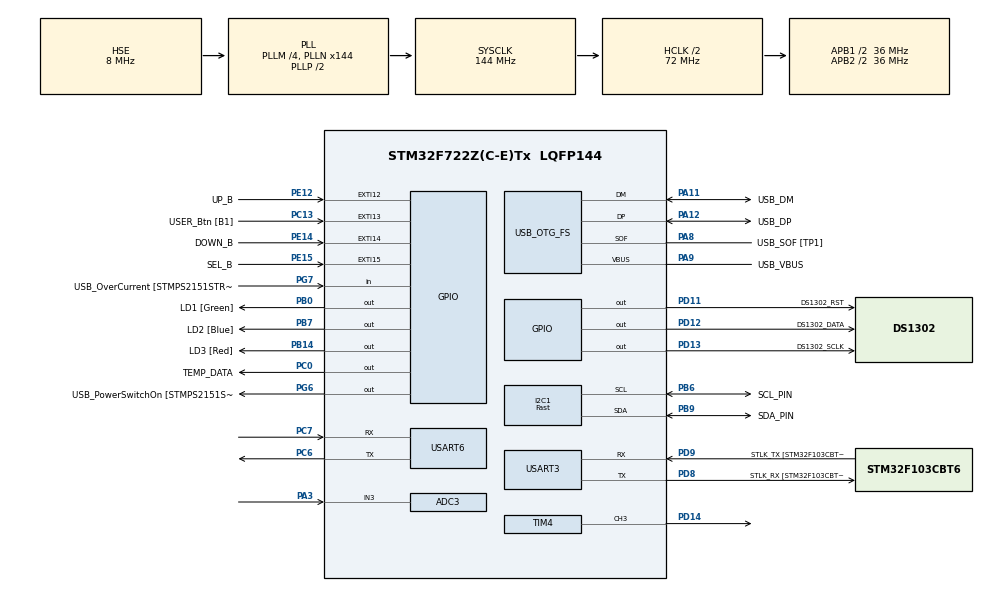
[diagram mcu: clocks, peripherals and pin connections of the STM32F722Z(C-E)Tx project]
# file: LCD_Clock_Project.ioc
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ADC3.Channel-2\#ChannelRegularConversion=ADC_CHANNEL_3
ADC3.ContinuousConvMode=ENABLE
ADC3.NbrOfConversionFlag=1
ADC3.Rank-2\#ChannelRegularConversion=1
ADC3.SamplingTime-2\#ChannelRegularConversion=ADC_SAMPLETIME_28CYCLES
I2C1.I2C_Speed_Mode=I2C_Fast
I2C1.Timing=0x00301739
Mcu.Family=STM32F7
Mcu.Name=STM32F722Z(C-E)Tx
Mcu.Package=LQFP144
NVIC.EXTI15_10_IRQn=true\:0\:0\:false\:false\:true\:true\:true\:true
NVIC.PriorityGroup=NVIC_PRIORITYGROUP_4
NVIC.TIM3_IRQn=true\:0\:0\:false\:false\:true\:true\:true\:true
PA10.GPIO_Label=USB_ID
PA10.Signal=USB_OTG_FS_ID
PA11.GPIO_Label=USB_DM
PA11.Mode=Device_Only
PA11.Signal=USB_OTG_FS_DM
PA12.GPIO_Label=USB_DP
PA12.Mode=Device_Only
PA12.Signal=USB_OTG_FS_DP
PA13.GPIO_Label=TMS
PA13.Mode=Serial_Wire
PA13.Signal=SYS_JTMS-SWDIO
PA14.GPIO_Label=TCK
PA14.Mode=Serial_Wire
PA14.Signal=SYS_JTCK-SWCLK
PA3.Signal=ADCx_IN3
PA8.GPIO_Label=USB_SOF [TP1]
PA8.Mode=Activate_SOF_FS
PA8.Signal=USB_OTG_FS_SOF
PA9.GPIO_Label=USB_VBUS
PA9.Mode=Activate_VBUS
PA9.Signal=USB_OTG_FS_VBUS
PB0.GPIO_Label=LD1 [Green]
PB0.Signal=GPIO_Output
PB14.GPIO_Label=LD3 [Red]
PB14.Signal=GPIO_Output
PB3.GPIO_Label=SWO
PB3.Signal=SYS_JTDO-SWO
PB6.GPIO_Label=SCL_PIN
PB6.Mode=I2C
PB6.Signal=I2C1_SCL
PB7.GPIO_Label=LD2 [Blue]
PB7.Signal=GPIO_Output
PB9.GPIO_Label=SDA_PIN
PB9.Mode=I2C
PB9.Signal=I2C1_SDA
PC0.GPIO_Label=TEMP_DATA
PC0.GPIO_PuPd=GPIO_PULLUP
PC0.GPIO_Speed=GPIO_SPEED_FREQ_HIGH
PC0.PinState=GPIO_PIN_SET
PC0.Signal=GPIO_Output
PC13.GPIO_Label=USER_Btn [B1]
PC13.Signal=GPXTI13
PC14-OSC32_IN.Mode=LSE-External-Oscillator
PC14-OSC32_IN.Signal=RCC_OSC32_IN
PC15-OSC32_OUT.Mode=LSE-External-Oscillator
PC15-OSC32_OUT.Signal=RCC_OSC32_OUT
PC6.Mode=Asynchronous
PC6.Signal=USART6_TX
PC7.Mode=Asynchronous
PC7.Signal=USART6_RX
PD11.GPIO_Label=DS1302_RST
PD11.Signal=GPIO_Output
PD12.GPIO_Label=DS1302_DATA
PD12.Signal=GPIO_Output
PD13.GPIO_Label=DS1302_SCLK
PD13.Signal=GPIO_Output
PD14.Signal=S_TIM4_CH3
PD8.GPIO_Label=STLK_RX [STM32F103CBT6_PA3]
PD8.Mode=Asynchronous
PD8.Signal=USART3_TX
PD9.GPIO_Label=STLK_TX [STM32F103CBT6_PA2]
PD9.Mode=Asynchronous
PD9.Signal=USART3_RX
PE12.GPIO_Label=UP_B
PE12.GPIO_ModeDefaultEXTI=GPIO_MODE_IT_FALLING
PE12.GPIO_PuPd=GPIO_PULLUP
PE12.Signal=GPXTI12
PE14.GPIO_Label=DOWN_B
PE14.GPIO_ModeDefaultEXTI=GPIO_MODE_IT_FALLING
PE14.GPIO_PuPd=GPIO_PULLUP
PE14.Signal=GPXTI14
PE15.GPIO_Label=SEL_B
PE15.GPIO_ModeDefaultEXTI=GPIO_MODE_IT_FALLING
PE15.GPIO_PuPd=GPIO_PULLUP
PE15.Signal=GPXTI15
PG6.GPIO_Label=USB_PowerSwitchOn [STMPS2151STR_EN]
PG6.Signal=GPIO_Output
PG7.GPIO_Label=USB_OverCurrent [STMPS2151STR_FAULT]
PG7.Signal=GPIO_Input
PH0-OSC_IN.GPIO_Label=MCO
PH0-OSC_IN.Mode=HSE-External-Oscillator
PH0-OSC_IN.Signal=RCC_OSC_IN
PH1-OSC_OUT.Mode=HSE-External-Oscillator
PH1-OSC_OUT.Signal=RCC_OSC_OUT
ProjectManager.HeapSize=0x200
ProjectManager.StackSize=0x400
ProjectManager.TargetToolchain=STM32CubeIDE
RCC.48MHZClocksFreq_Value=24000000
RCC.AHBCLKDivider=RCC_SYSCLK_DIV2
RCC.AHBFreq_Value=72000000
RCC.APB1CLKDivider=RCC_HCLK_DIV2
RCC.APB1Freq_Value=36000000
RCC.APB1TimFreq_Value=72000000
RCC.APB2CLKDivider=RCC_HCLK_DIV2
RCC.APB2Freq_Value=36000000
RCC.APB2TimFreq_Value=72000000
RCC.CortexFreq_Value=72000000
RCC.HCLKFreq_Value=72000000
RCC.HSE_VALUE=8000000
RCC.HSI_VALUE=16000000
RCC.PLLM=4
RCC.PLLMUL=RCC_PLL_MUL9
RCC.PLLN=144
RCC.PLLQ=6
RCC.PRESCALERUSB=RCC_USBCLKSOURCE_PLL_DIV1_5
RCC.SYSCLKFreq_VALUE=144000000
RCC.SYSCLKSource=RCC_SYSCLKSOURCE_PLLCLK
RCC.SYSCLKSourceVirtual=RCC_SYSCLKSOURCE_PLLCLK
RCC.USBFreq_Value=48000000
RCC.VCOOutputFreq_Value=288000000
SH.ADCx_IN3.0=ADC3_IN3,IN3
SH.S_TIM4_CH3.0=TIM4_CH3,PWM Generation3 CH3
TIM3.AutoReloadPreload=TIM_AUTORELOAD_PRELOAD_ENABLE
TIM3.Period=9999
TIM3.Prescaler=7199
TIM4.Channel-PWM\ Generation3\ CH3=TIM_CHANNEL_3
TIM4.Period=327
TIM4.Prescaler=325
TIM6.Prescaler=72-1
USART3.VirtualMode-Asynchronous=VM_ASYNC
USART6.VirtualMode-Asynchronous=VM_ASYNC
USB_OTG_FS.VirtualMode=Device_Only
VP_RTC_VS_RTC_Activate.Mode=RTC_Enabled
VP_RTC_VS_RTC_WakeUp_intern.Mode=WakeUp
VP_TIM3_VS_ClockSourceINT.Mode=Internal
VP_TIM6_VS_ClockSourceINT.Mode=Enable_Timer
board=NUCLEO-F722ZE

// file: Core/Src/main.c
/* USER CODE BEGIN Header */
/**
  ******************************************************************************
  * @file           : main.c
  * @brief          : Main program body
  ******************************************************************************
  * @attention
  *
  * Copyright (c) 2024 STMicroelectronics.
  * All rights reserved.
  *
  * This software is licensed under terms that can be found in the LICENSE file
  * in the root directory of this software component.
  * If no LICENSE file comes with this software, it is provided AS-IS.
  *
  ******************************************************************************
  */
/* USER CODE END Header */
#include "main.h"

/* USER CODE BEGIN Includes */
//#include "fnd_seg.h"
#include <stdio.h>
#include "g_var.h"
#include "alert_fs.h"
#include "Potentiometer.h"
#include "timer_mode.h"
#include "button_control.h"
#include "dht11.h"
#include "ds1302.h"

#include "ssd1306.h"
#include "lcd_menu.h"
#include "timer_funs.h"
#include "RTC_Functions.h"
#include "esp32_dht11.h"
/* USER CODE END Includes */

 ADC_HandleTypeDef hadc3;

I2C_HandleTypeDef hi2c1;

RTC_HandleTypeDef hrtc;

TIM_HandleTypeDef htim3;
TIM_HandleTypeDef htim4;
TIM_HandleTypeDef htim6;

UART_HandleTypeDef huart3;
UART_HandleTypeDef huart6;

PCD_HandleTypeDef hpcd_USB_OTG_FS;

void SystemClock_Config(void);
static void MX_GPIO_Init(void);
static void MX_USART3_UART_Init(void);
static void MX_USB_OTG_FS_PCD_Init(void);
static void MX_TIM3_Init(void);
static void MX_TIM4_Init(void);
static void MX_ADC3_Init(void);
static void MX_I2C1_Init(void);
static void MX_RTC_Init(void);
static void MX_TIM6_Init(void);
static void MX_USART6_UART_Init(void);

int main(void)
{

  /* MCU Configuration--------------------------------------------------------*/

  /* Reset of all peripherals, Initializes the Flash interface and the Systick. */
  HAL_Init();

  /* Configure the system clock */
  SystemClock_Config();

  /* Initialize all configured peripherals */
  MX_GPIO_Init();
  MX_USART3_UART_Init();
  MX_USB_OTG_FS_PCD_Init();
  MX_TIM3_Init();
  MX_TIM4_Init();
  MX_ADC3_Init();
  MX_I2C1_Init();
  MX_RTC_Init();
  MX_TIM6_Init();
  MX_USART6_UART_Init();
  /* USER CODE BEGIN 2 */

  // 가변저항 초기화
  init_PotentioMeter(&hadc3);
  // RTC 모듈 초기화
  ds1302_init();
  // LCD 초기화
  SSD1306_Init();
  // 온습도 센서 초기화
  init_dht11(&htim6, TEMP_DATA_GPIO_Port, TEMP_DATA_Pin);
  // 온습도 센서에 사용할 타이머 시작
  HAL_TIM_Base_Start(&htim6);
  // 1초 타이머 인터럽트 ON
  HAL_TIM_Base_Start_IT(&htim3);
  // 부저용 PWM 출력
  HAL_TIM_PWM_Start(&htim4, TIM_CHANNEL_3);
  /* USER CODE END 2 */
  /* Infinite loop */
  /* USER CODE BEGIN WHILE */

  // DS1302 시간 데이터 취득 및 알람 상태 확인
  opening();
  while (1)
  {
    /* USER CODE END WHILE */

    /* USER CODE BEGIN 3 */

	  // 온습도 데이터 취득
	  readDHT11();
	  // LCD 및 타이머 메인 루프
	  main_Check();

  }
  /* USER CODE END 3 */
}

void SystemClock_Config(void)
{
  RCC_OscInitTypeDef RCC_OscInitStruct = {0};
  RCC_ClkInitTypeDef RCC_ClkInitStruct = {0};

  /** Configure LSE Drive Capability
  */
  HAL_PWR_EnableBkUpAccess();

  /** Configure the main internal regulator output voltage
  */
  __HAL_RCC_PWR_CLK_ENABLE();
  __HAL_PWR_VOLTAGESCALING_CONFIG(PWR_REGULATOR_VOLTAGE_SCALE3);

  /** Initializes the RCC Oscillators according to the specified parameters
  * in the RCC_OscInitTypeDef structure.
  */
  RCC_OscInitStruct.OscillatorType = RCC_OSCILLATORTYPE_LSI|RCC_OSCILLATORTYPE_HSE;
  RCC_OscInitStruct.HSEState = RCC_HSE_ON;
  RCC_OscInitStruct.LSIState = RCC_LSI_ON;
  RCC_OscInitStruct.PLL.PLLState = RCC_PLL_ON;
  RCC_OscInitStruct.PLL.PLLSource = RCC_PLLSOURCE_HSE;
  RCC_OscInitStruct.PLL.PLLM = 4;
  RCC_OscInitStruct.PLL.PLLN = 144;
  RCC_OscInitStruct.PLL.PLLP = RCC_PLLP_DIV2;
  RCC_OscInitStruct.PLL.PLLQ = 6;
  if (HAL_RCC_OscConfig(&RCC_OscInitStruct) != HAL_OK)
  {
    Error_Handler();
  }

  /** Initializes the CPU, AHB and APB buses clocks
  */
  RCC_ClkInitStruct.ClockType = RCC_CLOCKTYPE_HCLK|RCC_CLOCKTYPE_SYSCLK
                              |RCC_CLOCKTYPE_PCLK1|RCC_CLOCKTYPE_PCLK2;
  RCC_ClkInitStruct.SYSCLKSource = RCC_SYSCLKSOURCE_PLLCLK;
  RCC_ClkInitStruct.AHBCLKDivider = RCC_SYSCLK_DIV2;
  RCC_ClkInitStruct.APB1CLKDivider = RCC_HCLK_DIV2;
  RCC_ClkInitStruct.APB2CLKDivider = RCC_HCLK_DIV2;

  if (HAL_RCC_ClockConfig(&RCC_ClkInitStruct, FLASH_LATENCY_2) != HAL_OK)
  {
    Error_Handler();
  }
}

static void MX_ADC3_Init(void)
{

  ADC_ChannelConfTypeDef sConfig = {0};

  /** Configure the global features of the ADC (Clock, Resolution, Data Alignment and number of conversion)
  */
  hadc3.Instance = ADC3;
  hadc3.Init.ClockPrescaler = ADC_CLOCK_SYNC_PCLK_DIV2;
  hadc3.Init.Resolution = ADC_RESOLUTION_12B;
  hadc3.Init.ScanConvMode = ADC_SCAN_DISABLE;
  hadc3.Init.ContinuousConvMode = ENABLE;
  hadc3.Init.DiscontinuousConvMode = DISABLE;
  hadc3.Init.ExternalTrigConvEdge = ADC_EXTERNALTRIGCONVEDGE_NONE;
  hadc3.Init.ExternalTrigConv = ADC_SOFTWARE_START;
  hadc3.Init.DataAlign = ADC_DATAALIGN_RIGHT;
  hadc3.Init.NbrOfConversion = 1;
  hadc3.Init.DMAContinuousRequests = DISABLE;
  hadc3.Init.EOCSelection = ADC_EOC_SINGLE_CONV;
  if (HAL_ADC_Init(&hadc3) != HAL_OK)
  {
    Error_Handler();
  }

  /** Configure for the selected ADC regular channel its corresponding rank in the sequencer and its sample time.
  */
  sConfig.Channel = ADC_CHANNEL_3;
  sConfig.Rank = ADC_REGULAR_RANK_1;
  sConfig.SamplingTime = ADC_SAMPLETIME_28CYCLES;
  if (HAL_ADC_ConfigChannel(&hadc3, &sConfig) != HAL_OK)
  {
    Error_Handler();
  }

}

static void MX_I2C1_Init(void)
{

  hi2c1.Instance = I2C1;
  hi2c1.Init.Timing = 0x00301739;
  hi2c1.Init.OwnAddress1 = 0;
  hi2c1.Init.AddressingMode = I2C_ADDRESSINGMODE_7BIT;
  hi2c1.Init.DualAddressMode = I2C_DUALADDRESS_DISABLE;
  hi2c1.Init.OwnAddress2 = 0;
  hi2c1.Init.OwnAddress2Masks = I2C_OA2_NOMASK;
  hi2c1.Init.GeneralCallMode = I2C_GENERALCALL_DISABLE;
  hi2c1.Init.NoStretchMode = I2C_NOSTRETCH_DISABLE;
  if (HAL_I2C_Init(&hi2c1) != HAL_OK)
  {
    Error_Handler();
  }

  /** Configure Analogue filter
  */
  if (HAL_I2CEx_ConfigAnalogFilter(&hi2c1, I2C_ANALOGFILTER_ENABLE) != HAL_OK)
  {
    Error_Handler();
  }

  /** Configure Digital filter
  */
  if (HAL_I2CEx_ConfigDigitalFilter(&hi2c1, 0) != HAL_OK)
  {
    Error_Handler();
  }

}

static void MX_RTC_Init(void)
{

  /** Initialize RTC Only
  */
  hrtc.Instance = RTC;
  hrtc.Init.HourFormat = RTC_HOURFORMAT_24;
  hrtc.Init.AsynchPrediv = 127;
  hrtc.Init.SynchPrediv = 255;
  hrtc.Init.OutPut = RTC_OUTPUT_DISABLE;
  hrtc.Init.OutPutPolarity = RTC_OUTPUT_POLARITY_HIGH;
  hrtc.Init.OutPutType = RTC_OUTPUT_TYPE_OPENDRAIN;
  if (HAL_RTC_Init(&hrtc) != HAL_OK)
  {
    Error_Handler();
  }

  /** Enable the WakeUp
  */
  if (HAL_RTCEx_SetWakeUpTimer(&hrtc, 0, RTC_WAKEUPCLOCK_RTCCLK_DIV16) != HAL_OK)
  {
    Error_Handler();
  }

}

static void MX_TIM3_Init(void)
{

  TIM_ClockConfigTypeDef sClockSourceConfig = {0};
  TIM_MasterConfigTypeDef sMasterConfig = {0};

  htim3.Instance = TIM3;
  htim3.Init.Prescaler = 7199;
  htim3.Init.CounterMode = TIM_COUNTERMODE_UP;
  htim3.Init.Period = 9999;
  htim3.Init.ClockDivision = TIM_CLOCKDIVISION_DIV1;
  htim3.Init.AutoReloadPreload = TIM_AUTORELOAD_PRELOAD_ENABLE;
  if (HAL_TIM_Base_Init(&htim3) != HAL_OK)
  {
    Error_Handler();
  }
  sClockSourceConfig.ClockSource = TIM_CLOCKSOURCE_INTERNAL;
  if (HAL_TIM_ConfigClockSource(&htim3, &sClockSourceConfig) != HAL_OK)
  {
    Error_Handler();
  }
  sMasterConfig.MasterOutputTrigger = TIM_TRGO_RESET;
  sMasterConfig.MasterSlaveMode = TIM_MASTERSLAVEMODE_DISABLE;
  if (HAL_TIMEx_MasterConfigSynchronization(&htim3, &sMasterConfig) != HAL_OK)
  {
    Error_Handler();
  }

}

static void MX_TIM4_Init(void)
{

  TIM_MasterConfigTypeDef sMasterConfig = {0};
  TIM_OC_InitTypeDef sConfigOC = {0};

  htim4.Instance = TIM4;
  htim4.Init.Prescaler = 325;
  htim4.Init.CounterMode = TIM_COUNTERMODE_UP;
  htim4.Init.Period = 327;
  htim4.Init.ClockDivision = TIM_CLOCKDIVISION_DIV1;
  htim4.Init.AutoReloadPreload = TIM_AUTORELOAD_PRELOAD_DISABLE;
  if (HAL_TIM_PWM_Init(&htim4) != HAL_OK)
  {
    Error_Handler();
  }
  sMasterConfig.MasterOutputTrigger = TIM_TRGO_RESET;
  sMasterConfig.MasterSlaveMode = TIM_MASTERSLAVEMODE_DISABLE;
  if (HAL_TIMEx_MasterConfigSynchronization(&htim4, &sMasterConfig) != HAL_OK)
  {
    Error_Handler();
  }
  sConfigOC.OCMode = TIM_OCMODE_PWM1;
  sConfigOC.Pulse = 0;
  sConfigOC.OCPolarity = TIM_OCPOLARITY_HIGH;
  sConfigOC.OCFastMode = TIM_OCFAST_DISABLE;
  if (HAL_TIM_PWM_ConfigChannel(&htim4, &sConfigOC, TIM_CHANNEL_3) != HAL_OK)
  {
    Error_Handler();
  }
  HAL_TIM_MspPostInit(&htim4);

}

static void MX_TIM6_Init(void)
{

  TIM_MasterConfigTypeDef sMasterConfig = {0};

  htim6.Instance = TIM6;
  htim6.Init.Prescaler = 72-1;
  htim6.Init.CounterMode = TIM_COUNTERMODE_UP;
  htim6.Init.Period = 65535;
  htim6.Init.AutoReloadPreload = TIM_AUTORELOAD_PRELOAD_DISABLE;
  if (HAL_TIM_Base_Init(&htim6) != HAL_OK)
  {
    Error_Handler();
  }
  sMasterConfig.MasterOutputTrigger = TIM_TRGO_RESET;
  sMasterConfig.MasterSlaveMode = TIM_MASTERSLAVEMODE_DISABLE;
  if (HAL_TIMEx_MasterConfigSynchronization(&htim6, &sMasterConfig) != HAL_OK)
  {
    Error_Handler();
  }

}

static void MX_USART3_UART_Init(void)
{

  huart3.Instance = USART3;
  huart3.Init.BaudRate = 115200;
  huart3.Init.WordLength = UART_WORDLENGTH_8B;
  huart3.Init.StopBits = UART_STOPBITS_1;
  huart3.Init.Parity = UART_PARITY_NONE;
  huart3.Init.Mode = UART_MODE_TX_RX;
  huart3.Init.HwFlowCtl = UART_HWCONTROL_NONE;
  huart3.Init.OverSampling = UART_OVERSAMPLING_16;
  huart3.Init.OneBitSampling = UART_ONE_BIT_SAMPLE_DISABLE;
  huart3.AdvancedInit.AdvFeatureInit = UART_ADVFEATURE_NO_INIT;
  if (HAL_UART_Init(&huart3) != HAL_OK)
  {
    Error_Handler();
  }

}

static void MX_USART6_UART_Init(void)
{

  huart6.Instance = USART6;
  huart6.Init.BaudRate = 115200;
  huart6.Init.WordLength = UART_WORDLENGTH_8B;
  huart6.Init.StopBits = UART_STOPBITS_1;
  huart6.Init.Parity = UART_PARITY_NONE;
  huart6.Init.Mode = UART_MODE_TX_RX;
  huart6.Init.HwFlowCtl = UART_HWCONTROL_NONE;
  huart6.Init.OverSampling = UART_OVERSAMPLING_16;
  huart6.Init.OneBitSampling = UART_ONE_BIT_SAMPLE_DISABLE;
  huart6.AdvancedInit.AdvFeatureInit = UART_ADVFEATURE_NO_INIT;
  if (HAL_UART_Init(&huart6) != HAL_OK)
  {
    Error_Handler();
  }

}

static void MX_USB_OTG_FS_PCD_Init(void)
{

  hpcd_USB_OTG_FS.Instance = USB_OTG_FS;
  hpcd_USB_OTG_FS.Init.dev_endpoints = 6;
  hpcd_USB_OTG_FS.Init.dma_enable = DISABLE;
  hpcd_USB_OTG_FS.Init.phy_itface = PCD_PHY_EMBEDDED;
  hpcd_USB_OTG_FS.Init.Sof_enable = ENABLE;
  hpcd_USB_OTG_FS.Init.low_power_enable = DISABLE;
  hpcd_USB_OTG_FS.Init.lpm_enable = DISABLE;
  hpcd_USB_OTG_FS.Init.battery_charging_enable = ENABLE;
  hpcd_USB_OTG_FS.Init.vbus_sensing_enable = ENABLE;
  hpcd_USB_OTG_FS.Init.use_dedicated_ep1 = DISABLE;
  if (HAL_PCD_Init(&hpcd_USB_OTG_FS) != HAL_OK)
  {
    Error_Handler();
  }

}

static void MX_GPIO_Init(void)
{
  GPIO_InitTypeDef GPIO_InitStruct = {0};

  /* GPIO Ports Clock Enable */
  __HAL_RCC_GPIOC_CLK_ENABLE();
  __HAL_RCC_GPIOH_CLK_ENABLE();
  __HAL_RCC_GPIOA_CLK_ENABLE();
  __HAL_RCC_GPIOB_CLK_ENABLE();
  __HAL_RCC_GPIOE_CLK_ENABLE();
  __HAL_RCC_GPIOD_CLK_ENABLE();
  __HAL_RCC_GPIOG_CLK_ENABLE();

  /*Configure GPIO pin Output Level */
  HAL_GPIO_WritePin(TEMP_DATA_GPIO_Port, TEMP_DATA_Pin, GPIO_PIN_SET);

  /*Configure GPIO pin Output Level */
  HAL_GPIO_WritePin(GPIOB, LD1_Pin|LD3_Pin|LD2_Pin, GPIO_PIN_RESET);

  /*Configure GPIO pin Output Level */
  HAL_GPIO_WritePin(GPIOD, DS1302_RST_Pin|DS1302_DATA_Pin|DS1302_SCLK_Pin, GPIO_PIN_RESET);

  /*Configure GPIO pin Output Level */
  HAL_GPIO_WritePin(USB_PowerSwitchOn_GPIO_Port, USB_PowerSwitchOn_Pin, GPIO_PIN_RESET);

  /*Configure GPIO pin : USER_Btn_Pin */
  GPIO_InitStruct.Pin = USER_Btn_Pin;
  GPIO_InitStruct.Mode = GPIO_MODE_IT_RISING;
  GPIO_InitStruct.Pull = GPIO_NOPULL;
  HAL_GPIO_Init(USER_Btn_GPIO_Port, &GPIO_InitStruct);

  /*Configure GPIO pin : TEMP_DATA_Pin */
  GPIO_InitStruct.Pin = TEMP_DATA_Pin;
  GPIO_InitStruct.Mode = GPIO_MODE_OUTPUT_PP;
  GPIO_InitStruct.Pull = GPIO_PULLUP;
  GPIO_InitStruct.Speed = GPIO_SPEED_FREQ_HIGH;
  HAL_GPIO_Init(TEMP_DATA_GPIO_Port, &GPIO_InitStruct);

  /*Configure GPIO pins : LD1_Pin LD3_Pin LD2_Pin */
  GPIO_InitStruct.Pin = LD1_Pin|LD3_Pin|LD2_Pin;
  GPIO_InitStruct.Mode = GPIO_MODE_OUTPUT_PP;
  GPIO_InitStruct.Pull = GPIO_NOPULL;
  GPIO_InitStruct.Speed = GPIO_SPEED_FREQ_LOW;
  HAL_GPIO_Init(GPIOB, &GPIO_InitStruct);

  /*Configure GPIO pins : UP_B_Pin DOWN_B_Pin SEL_B_Pin */
  GPIO_InitStruct.Pin = UP_B_Pin|DOWN_B_Pin|SEL_B_Pin;
  GPIO_InitStruct.Mode = GPIO_MODE_IT_FALLING;
  GPIO_InitStruct.Pull = GPIO_PULLUP;
  HAL_GPIO_Init(GPIOE, &GPIO_InitStruct);

  /*Configure GPIO pins : DS1302_RST_Pin DS1302_DATA_Pin DS1302_SCLK_Pin */
  GPIO_InitStruct.Pin = DS1302_RST_Pin|DS1302_DATA_Pin|DS1302_SCLK_Pin;
  GPIO_InitStruct.Mode = GPIO_MODE_OUTPUT_PP;
  GPIO_InitStruct.Pull = GPIO_NOPULL;
  GPIO_InitStruct.Speed = GPIO_SPEED_FREQ_LOW;
  HAL_GPIO_Init(GPIOD, &GPIO_InitStruct);

  /*Configure GPIO pin : USB_PowerSwitchOn_Pin */
  GPIO_InitStruct.Pin = USB_PowerSwitchOn_Pin;
  GPIO_InitStruct.Mode = GPIO_MODE_OUTPUT_PP;
  GPIO_InitStruct.Pull = GPIO_NOPULL;
  GPIO_InitStruct.Speed = GPIO_SPEED_FREQ_LOW;
  HAL_GPIO_Init(USB_PowerSwitchOn_GPIO_Port, &GPIO_InitStruct);

  /*Configure GPIO pin : USB_OverCurrent_Pin */
  GPIO_InitStruct.Pin = USB_OverCurrent_Pin;
  GPIO_InitStruct.Mode = GPIO_MODE_INPUT;
  GPIO_InitStruct.Pull = GPIO_NOPULL;
  HAL_GPIO_Init(USB_OverCurrent_GPIO_Port, &GPIO_InitStruct);

  /* EXTI interrupt init*/
  HAL_NVIC_SetPriority(EXTI15_10_IRQn, 0, 0);
  HAL_NVIC_EnableIRQ(EXTI15_10_IRQn);

}

void Error_Handler(void)
{
  __disable_irq();
  while (1)
  {
  }
}
